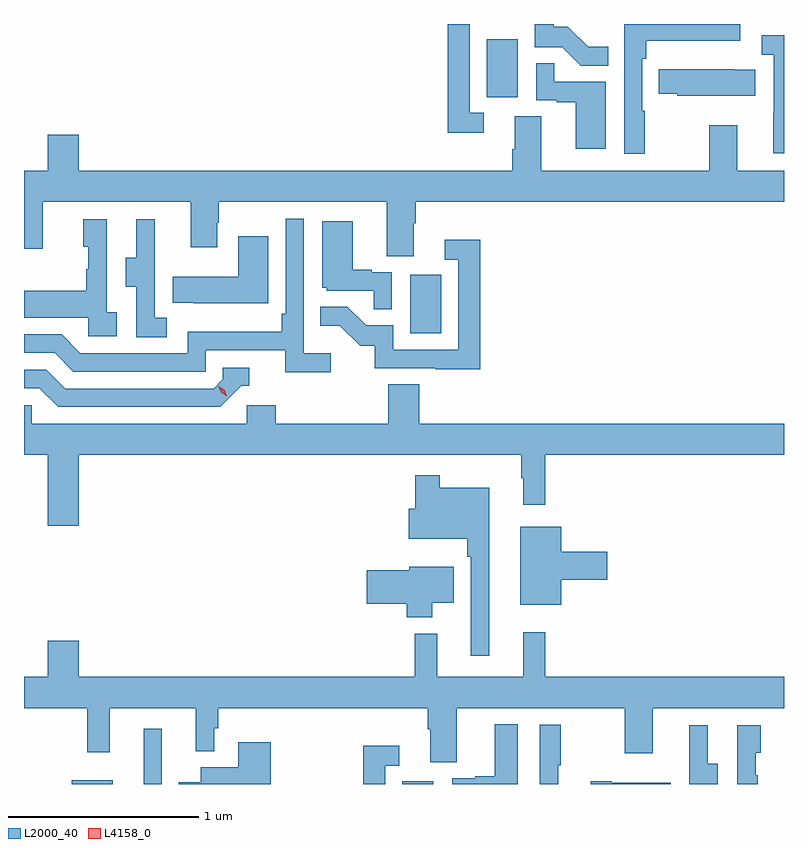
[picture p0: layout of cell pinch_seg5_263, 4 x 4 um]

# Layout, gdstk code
import gdstk
lib = gdstk.Library(unit=1e-6, precision=1e-09)
def R(c, l, rs):  # rectangles x0, y0, x1, y1
    for r in rs: c.add(gdstk.rectangle(r[:2], r[2:], *l))
def P(c, l, *ps):  # polygons
    for p in ps: c.add(gdstk.Polygon(p, *l))
L2000_40 = (2000, 40)
L4158_0 = (4158, 0)

pinch_seg5_263 = lib.new_cell('pinch_seg5_263')
R(pinch_seg5_263, L2000_40, [(896.402,906.976,896.617,906.997), (896.78,906.976,896.877,907.267), (898.142,906.976,898.306,906.991), (898.184,909.348,898.348,909.655), (898.586,910.59,898.75,910.897)])
P(pinch_seg5_263, L2000_40, [(899.225,910.855),(899.121,910.855),(899.014,910.962),(898.938,910.962),(898.938,910.976),(898.839,910.976),(898.839,910.854),(898.983,910.854),(899.081,910.756),(899.225,910.756)],
  [(898.57,910.509),(898.497,910.509),(898.497,910.976),(898.381,910.976),(898.381,910.404),(898.57,910.404)],
  [(899.419,910.52),(899.406,910.52),(899.406,910.793),(899.426,910.793),(899.426,910.889),(899.922,910.889),(899.922,910.976),(899.31,910.976),(899.31,910.293),(899.419,910.293)],
  [(900.151,910.916),(900.033,910.916),(900.033,910.813),(900.096,910.813),(900.096,910.509),(900.095,910.509),(900.095,910.296),(900.151,910.296)],
  [(899.212,910.671),(898.943,910.671),(898.943,910.769),(898.848,910.769),(898.848,910.575),(898.955,910.575),(898.955,910.563),(899.054,910.563),(899.054,910.32),(899.212,910.32)],
  [(899.999,910.735),(899.891,910.735),(899.891,910.738),(899.491,910.738),(899.491,910.609),(899.589,910.609),(899.589,910.598),(899.999,910.598)],
  [(898.201,909.928),(898.214,909.928),(898.214,910.04),(900.151,910.04),(900.151,910.204),(899.905,910.204),(899.905,910.444),(899.758,910.444),(899.758,910.204),(898.873,910.204),(898.873,910.49),(898.733,910.49),(898.733,910.316),(898.721,910.316),(898.721,910.204),(896.44,910.204),(896.44,910.393),(896.276,910.393),(896.276,910.204),(896.151,910.204),(896.151,909.792),(896.249,909.792),(896.249,910.04),(897.029,910.04),(897.029,909.801),(897.169,909.801),(897.169,909.929),(897.177,909.929),(897.177,910.04),(898.061,910.04),(898.061,909.754),(898.201,909.754)],
  [(897.766,909.244),(897.624,909.244),(897.624,909.952),(897.528,909.952),(897.528,909.451),(897.508,909.451),(897.508,909.355),(897.012,909.355),(897.012,909.243),(896.448,909.243),(896.349,909.342),(896.151,909.342),(896.151,909.246),(896.312,909.246),(896.411,909.147),(897.108,909.147),(897.108,909.258),(897.527,909.258),(897.527,909.142),(897.766,909.142)],
  [(896.902,909.431),(896.838,909.431),(896.838,909.735),(896.84,909.735),(896.84,909.949),(896.741,909.949),(896.741,909.747),(896.687,909.747),(896.687,909.592),(896.742,909.592),(896.742,909.328),(896.902,909.328)],
  [(896.638,909.458),(896.586,909.458),(896.586,909.949),(896.462,909.949),(896.462,909.804),(896.488,909.804),(896.488,909.686),(896.478,909.686),(896.478,909.571),(896.151,909.571),(896.151,909.431),(896.49,909.431),(896.49,909.333),(896.638,909.333)],
  [(898.086,909.669),(897.98,909.669),(897.98,909.682),(897.88,909.682),(897.88,909.937),(897.722,909.937),(897.722,909.588),(897.744,909.588),(897.744,909.573),(897.991,909.573),(897.991,909.475),(898.086,909.475)],
  [(897.436,909.859),(897.278,909.859),(897.278,909.646),(896.935,909.646),(896.935,909.509),(897.043,909.509),(897.043,909.506),(897.436,909.506)],
  [(898.553,909.841),(898.365,909.841),(898.365,909.735),(898.437,909.735),(898.437,909.261),(898.095,909.261),(898.095,909.39),(897.951,909.39),(897.853,909.488),(897.709,909.488),(897.709,909.389),(897.813,909.389),(897.92,909.282),(897.997,909.282),(897.997,909.165),(898.315,909.165),(898.315,909.16),(898.553,909.16)],
  [(897.294,909.072),(897.337,909.072),(897.337,909.168),(897.198,909.168),(897.198,909.105),(897.15,909.057),(896.367,909.057),(896.268,909.156),(896.151,909.156),(896.151,909.06),(896.231,909.06),(896.33,908.961),(897.183,908.961)],
  [(898.232,909.08),(898.067,909.08),(898.067,908.872),(897.476,908.872),(897.476,908.97),(897.324,908.97),(897.324,908.872),(896.193,908.872),(896.193,908.97),(896.151,908.97),(896.151,908.708),(896.276,908.708),(896.276,908.334),(896.44,908.334),(896.44,908.708),(898.767,908.708),(898.767,908.585),(898.778,908.585),(898.778,908.445),(898.895,908.445),(898.895,908.708),(900.151,908.708),(900.151,908.872),(898.232,908.872)],
  [(898.6,908.536),(898.339,908.536),(898.339,908.602),(898.21,908.602),(898.21,908.425),(898.176,908.425),(898.176,908.267),(898.483,908.267),(898.483,908.171),(898.503,908.171),(898.503,907.65),(898.6,907.65)],
  [(898.978,908.051),(899.221,908.051),(899.221,908.198),(898.978,908.198),(898.978,908.329),(898.763,908.329),(898.763,907.919),(898.978,907.919)],
  [(898.3,907.931),(898.414,907.931),(898.414,908.119),(898.178,908.119),(898.178,908.102),(897.954,908.102),(897.954,907.924),(898.166,907.924),(898.166,907.853),(898.3,907.853)],
  [(898.429,907.376),(899.314,907.376),(899.314,907.137),(899.461,907.137),(899.461,907.376),(900.151,907.376),(900.151,907.54),(898.895,907.54),(898.895,907.774),(898.778,907.774),(898.778,907.54),(898.325,907.54),(898.325,907.768),(898.207,907.768),(898.207,907.54),(896.44,907.54),(896.44,907.729),(896.276,907.729),(896.276,907.54),(896.151,907.54),(896.151,907.376),(896.485,907.376),(896.485,907.143),(896.603,907.143),(896.603,907.376),(897.056,907.376),(897.056,907.148),(897.153,907.148),(897.153,907.269),(897.173,907.269),(897.173,907.376),(898.277,907.376),(898.277,907.264),(898.289,907.264),(898.289,907.09),(898.429,907.09)],
  [(898.75,907.291),(898.628,907.291),(898.628,907.018),(898.525,907.018),(898.525,907.005),(898.404,907.005),(898.404,906.976),(898.75,906.976)],
  [(898.963,907.075),(898.975,907.075),(898.975,907.288),(898.866,907.288),(898.866,906.976),(898.963,906.976)],
  [(899.803,907.083),(899.749,907.083),(899.749,907.285),(899.651,907.285),(899.651,907.071),(899.652,907.071),(899.652,906.976),(899.803,906.976)],
  [(900.013,907.022),(900.003,907.022),(900.003,907.14),(900.028,907.14),(900.028,907.285),(899.904,907.285),(899.904,906.976),(900.013,906.976)],
  [(897.449,907.195),(897.278,907.195),(897.278,907.063),(897.08,907.063),(897.08,906.985),(896.966,906.985),(896.966,906.976),(897.449,906.976)],
  [(898.053,907.071),(898.126,907.071),(898.126,907.177),(897.937,907.177),(897.937,906.976),(898.053,906.976)],
  [(899.555,906.982),(899.245,906.982),(899.245,906.99),(899.133,906.99),(899.133,906.976),(899.555,906.976)])
P(pinch_seg5_263, L4158_0, [(897.219,909.017),(897.189,909.037),(897.173,909.07),(897.173,909.07),(897.174,909.07),(897.204,909.05),(897.219,909.017),(897.219,909.017)])

lib.write_gds('pinch_seg5_263.gds')
